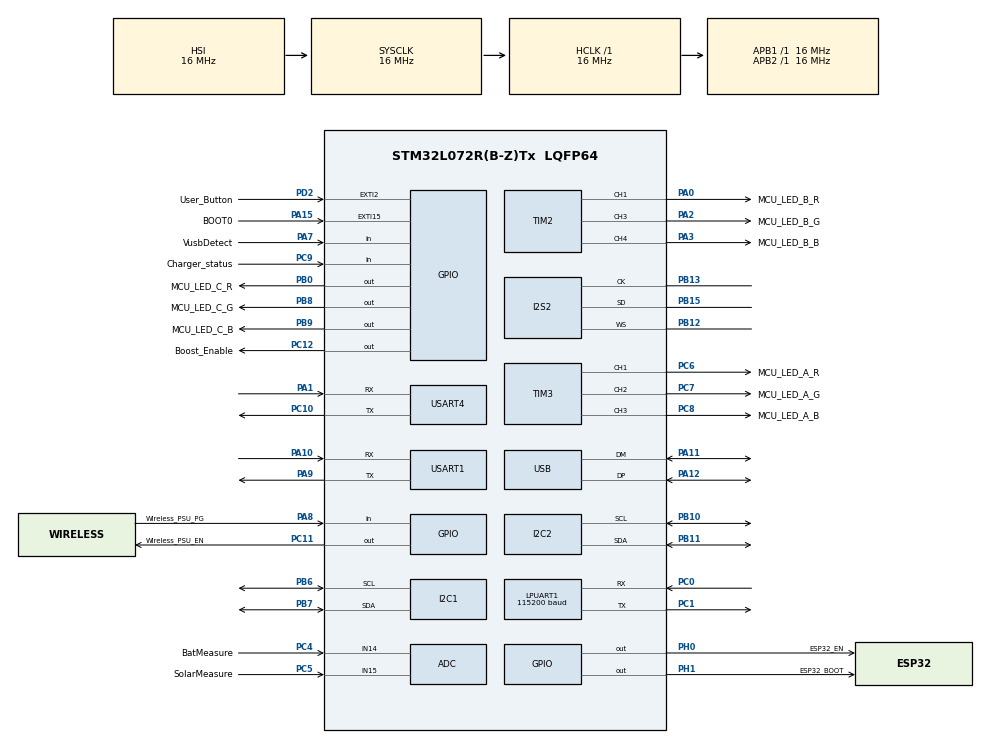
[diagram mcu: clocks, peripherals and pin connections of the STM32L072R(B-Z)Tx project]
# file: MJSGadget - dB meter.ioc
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ADC.DiscontinuousConvMode=DISABLE
ADC.SamplingTime=ADC_SAMPLETIME_160CYCLES_5
Dma.I2C1_RX.1.Direction=DMA_PERIPH_TO_MEMORY
Dma.I2C1_RX.1.Instance=DMA1_Channel3
Dma.I2C1_RX.1.MemDataAlignment=DMA_MDATAALIGN_BYTE
Dma.I2C1_RX.1.MemInc=DMA_MINC_ENABLE
Dma.I2C1_RX.1.Mode=DMA_NORMAL
Dma.I2C1_RX.1.PeriphDataAlignment=DMA_PDATAALIGN_BYTE
Dma.I2C1_RX.1.PeriphInc=DMA_PINC_DISABLE
Dma.I2C1_RX.1.Priority=DMA_PRIORITY_LOW
Dma.I2C1_TX.2.Direction=DMA_MEMORY_TO_PERIPH
Dma.I2C1_TX.2.Instance=DMA1_Channel2
Dma.I2C1_TX.2.MemDataAlignment=DMA_MDATAALIGN_BYTE
Dma.I2C1_TX.2.MemInc=DMA_MINC_ENABLE
Dma.I2C1_TX.2.Mode=DMA_NORMAL
Dma.I2C1_TX.2.PeriphDataAlignment=DMA_PDATAALIGN_BYTE
Dma.I2C1_TX.2.PeriphInc=DMA_PINC_DISABLE
Dma.I2C1_TX.2.Priority=DMA_PRIORITY_LOW
Dma.Request0=SPI2_RX
Dma.Request1=I2C1_RX
Dma.Request2=I2C1_TX
Dma.Request3=USART4_RX
Dma.Request4=USART4_TX
Dma.SPI2_RX.0.Direction=DMA_PERIPH_TO_MEMORY
Dma.SPI2_RX.0.Instance=DMA1_Channel4
Dma.SPI2_RX.0.MemDataAlignment=DMA_MDATAALIGN_HALFWORD
Dma.SPI2_RX.0.MemInc=DMA_MINC_ENABLE
Dma.SPI2_RX.0.Mode=DMA_CIRCULAR
Dma.SPI2_RX.0.PeriphDataAlignment=DMA_PDATAALIGN_HALFWORD
Dma.SPI2_RX.0.PeriphInc=DMA_PINC_DISABLE
Dma.SPI2_RX.0.Priority=DMA_PRIORITY_LOW
Dma.USART4_RX.3.Direction=DMA_PERIPH_TO_MEMORY
Dma.USART4_RX.3.Instance=DMA1_Channel6
Dma.USART4_RX.3.MemDataAlignment=DMA_MDATAALIGN_BYTE
Dma.USART4_RX.3.MemInc=DMA_MINC_ENABLE
Dma.USART4_RX.3.Mode=DMA_CIRCULAR
Dma.USART4_RX.3.PeriphDataAlignment=DMA_PDATAALIGN_BYTE
Dma.USART4_RX.3.PeriphInc=DMA_PINC_DISABLE
Dma.USART4_RX.3.Priority=DMA_PRIORITY_LOW
Dma.USART4_TX.4.Direction=DMA_MEMORY_TO_PERIPH
Dma.USART4_TX.4.Instance=DMA1_Channel7
Dma.USART4_TX.4.MemDataAlignment=DMA_MDATAALIGN_BYTE
Dma.USART4_TX.4.MemInc=DMA_MINC_ENABLE
Dma.USART4_TX.4.Mode=DMA_NORMAL
Dma.USART4_TX.4.PeriphDataAlignment=DMA_PDATAALIGN_BYTE
Dma.USART4_TX.4.PeriphInc=DMA_PINC_DISABLE
Dma.USART4_TX.4.Priority=DMA_PRIORITY_LOW
I2C1.Timing=0x00503D58
I2C2.Timing=0x00503D58
I2S2.AudioFreq=I2S_AUDIOFREQ_16K
I2S2.CPOL=I2S_CPOL_LOW
I2S2.DataFormat=I2S_DATAFORMAT_24B
I2S2.ErrorAudioFreq=-2.34 %
I2S2.Instance=SPI$Index
I2S2.Mode=I2S_MODE_MASTER_RX
I2S2.RealAudioFreq=15.625 KHz
I2S2.Standard=I2S_STANDARD_PHILIPS
I2S2.VirtualMode=I2S_MODE_MASTER
IWDG.Prescaler=IWDG_PRESCALER_256
LPUART1.BaudRate=115200
LPUART1.OverrunDisableParam=UART_ADVFEATURE_OVERRUN_DISABLE
LPUART1.SwapParam=UART_ADVFEATURE_SWAP_ENABLE
LPUART1.WordLength=UART_WORDLENGTH_8B
Mcu.Family=STM32L0
Mcu.Name=STM32L072R(B-Z)Tx
Mcu.Package=LQFP64
NVIC.DMA1_Channel2_3_IRQn=true\:0\:0\:false\:false\:true\:false\:true\:true
NVIC.DMA1_Channel4_5_6_7_IRQn=true\:3\:0\:true\:false\:true\:false\:true\:true
NVIC.EXTI2_3_IRQn=true\:0\:0\:false\:false\:true\:true\:true\:true
NVIC.EXTI4_15_IRQn=true\:0\:0\:false\:false\:true\:true\:true\:true
NVIC.I2C1_IRQn=true\:0\:0\:false\:false\:true\:true\:true\:true
NVIC.RTC_IRQn=true\:0\:0\:false\:false\:true\:true\:true\:true
NVIC.USART1_IRQn=true\:0\:0\:false\:false\:true\:true\:true\:true
NVIC.USART4_5_IRQn=true\:0\:0\:false\:false\:true\:true\:true\:true
NVIC.USB_IRQn=true\:0\:0\:false\:false\:true\:false\:true\:true
PA0.GPIO_Label=MCU_LED_B_R
PA0.Signal=S_TIM2_CH1
PA1.Mode=Asynchronous
PA1.Signal=USART4_RX
PA10.Mode=Asynchronous
PA10.Signal=USART1_RX
PA11.Mode=Device
PA11.Signal=USB_DM
PA12.Mode=Device
PA12.Signal=USB_DP
PA13.Mode=Serial_Wire
PA13.Signal=SYS_SWDIO
PA14.Mode=Serial_Wire
PA14.Signal=SYS_SWCLK
PA15.GPIO_Label=BOOT0
PA15.Signal=GPXTI15
PA2.GPIO_Label=MCU_LED_B_G
PA2.Signal=S_TIM2_CH3
PA3.GPIO_Label=MCU_LED_B_B
PA3.Signal=S_TIM2_CH4
PA7.GPIO_Label=VusbDetect
PA7.Signal=GPIO_Input
PA8.GPIO_Label=Wireless_PSU_PG
PA8.Signal=GPIO_Input
PA9.Mode=Asynchronous
PA9.Signal=USART1_TX
PB0.GPIO_Label=MCU_LED_C_R
PB0.PinState=GPIO_PIN_SET
PB0.Signal=GPIO_Output
PB10.Mode=I2C
PB10.Signal=I2C2_SCL
PB11.Mode=I2C
PB11.Signal=I2C2_SDA
PB12.Mode=Half_Duplex_Master
PB12.Signal=I2S2_WS
PB13.Mode=Half_Duplex_Master
PB13.Signal=I2S2_CK
PB15.Mode=Half_Duplex_Master
PB15.Signal=I2S2_SD
PB6.Mode=I2C
PB6.Signal=I2C1_SCL
PB7.Mode=I2C
PB7.Signal=I2C1_SDA
PB8.GPIO_Label=MCU_LED_C_G
PB8.PinState=GPIO_PIN_SET
PB8.Signal=GPIO_Output
PB9.GPIO_Label=MCU_LED_C_B
PB9.PinState=GPIO_PIN_SET
PB9.Signal=GPIO_Output
PC0.Mode=Asynchronous
PC0.Signal=LPUART1_RX
PC1.Mode=Asynchronous
PC1.Signal=LPUART1_TX
PC10.Mode=Asynchronous
PC10.Signal=USART4_TX
PC11.GPIO_Label=Wireless_PSU_EN
PC11.PinState=GPIO_PIN_SET
PC11.Signal=GPIO_Output
PC12.GPIO_Label=Boost_Enable
PC12.Signal=GPIO_Output
PC14-OSC32_IN.Mode=LSE-External-Oscillator
PC14-OSC32_IN.Signal=RCC_OSC32_IN
PC15-OSC32_OUT.Mode=LSE-External-Oscillator
PC15-OSC32_OUT.Signal=RCC_OSC32_OUT
PC4.GPIO_Label=BatMeasure
PC4.Signal=SharedAnalog_PC4
PC5.GPIO_Label=SolarMeasure
PC5.Signal=SharedAnalog_PC5
PC6.GPIO_Label=MCU_LED_A_R
PC6.Signal=S_TIM3_CH1
PC7.GPIO_Label=MCU_LED_A_G
PC7.Signal=S_TIM3_CH2
PC8.GPIO_Label=MCU_LED_A_B
PC8.Signal=S_TIM3_CH3
PC9.GPIO_Label=Charger_status
PC9.Signal=GPIO_Input
PD2.GPIO_Label=User_Button
PD2.GPIO_ModeDefaultEXTI=GPIO_MODE_IT_FALLING
PD2.GPIO_PuPd=GPIO_PULLUP
PD2.Signal=GPXTI2
PH0-OSC_IN.GPIO_Label=ESP32_EN
PH0-OSC_IN.PinState=GPIO_PIN_SET
PH0-OSC_IN.Signal=GPIO_Output
PH1-OSC_OUT.GPIO_Label=ESP32_BOOT
PH1-OSC_OUT.Signal=GPIO_Output
ProjectManager.HeapSize=0x100
ProjectManager.StackSize=0x400
ProjectManager.TargetToolchain=CMake
RCC.ADCFreq_Value=16000000
RCC.AHBFreq_Value=16000000
RCC.APB1Freq_Value=16000000
RCC.APB1TimFreq_Value=16000000
RCC.APB2Freq_Value=16000000
RCC.APB2TimFreq_Value=16000000
RCC.HCLKFreq_Value=16000000
RCC.HSE_VALUE=8000000
RCC.HSI16_VALUE=16000000
RCC.HSI48MClockSelection=RCC_USBCLKSOURCE_HSI48
RCC.HSI48_VALUE=48000000
RCC.HSI_VALUE=16000000
RCC.LSE_Drive_Capability=RCC_LSEDRIVE_MEDIUMHIGH
RCC.MSI_VALUE=2097000
RCC.RTCClockSelection=RCC_RTCCLKSOURCE_LSE
RCC.RTCClockSelectionVirtual=RCC_RTCCLKSOURCE_LSE
RCC.SYSCLKFreq_VALUE=16000000
RCC.SYSCLKSource=RCC_SYSCLKSOURCE_HSI
RCC.VCOOutputFreq_Value=48000000
RTC.Date=23
RTC.Format=RTC_FORMAT_BIN
RTC.Hours=13
RTC.Month=RTC_MONTH_NOVEMBER
RTC.WeekDay=RTC_WEEKDAY_SATURDAY
RTC.Year=24
SH.S_TIM2_CH1.0=TIM2_CH1,PWM Generation1 CH1
SH.S_TIM2_CH3.0=TIM2_CH3,PWM Generation3 CH3
SH.S_TIM2_CH4.0=TIM2_CH4,PWM Generation4 CH4
SH.S_TIM3_CH1.0=TIM3_CH1,PWM Generation1 CH1
SH.S_TIM3_CH2.0=TIM3_CH2,PWM Generation2 CH2
SH.S_TIM3_CH3.0=TIM3_CH3,PWM Generation3 CH3
SH.SharedAnalog_PC4.0=GPIO_Analog
SH.SharedAnalog_PC4.1=ADC_IN14,IN14
SH.SharedAnalog_PC5.0=GPIO_Analog
SH.SharedAnalog_PC5.1=ADC_IN15,IN15
TIM2.Channel-PWM\ Generation1\ CH1=TIM_CHANNEL_1
TIM2.Channel-PWM\ Generation3\ CH3=TIM_CHANNEL_3
TIM2.Channel-PWM\ Generation4\ CH4=TIM_CHANNEL_4
TIM3.Channel-PWM\ Generation1\ CH1=TIM_CHANNEL_1
TIM3.Channel-PWM\ Generation2\ CH2=TIM_CHANNEL_2
TIM3.Channel-PWM\ Generation3\ CH3=TIM_CHANNEL_3
TIM6.Prescaler=10
USART1.SwapParam=ADVFEATURE_SWAP_DISABLE
USART1.VirtualMode-Asynchronous=VM_ASYNC
USART4.SwapParam=ADVFEATURE_SWAP_DISABLE
USART4.VirtualMode-Asynchronous=VM_ASYNC
USB_DEVICE.CLASS_NAME_FS=CDC
USB_DEVICE.VirtualMode=Cdc
USB_DEVICE.VirtualModeFS=Cdc_FS
VP_IWDG_VS_IWDG.Mode=IWDG_Activate
VP_RTC_VS_RTC_Activate.Mode=RTC_Enabled
VP_RTC_VS_RTC_Calendar.Mode=RTC_Calendar
VP_RTC_VS_RTC_WakeUp_intern.Mode=WakeUp
VP_TIM6_VS_ClockSourceINT.Mode=Enable_Timer
VP_USB_DEVICE_VS_USB_DEVICE_CDC_FS.Mode=CDC_FS
board=custom

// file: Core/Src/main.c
/* USER CODE BEGIN Header */
/**
 ******************************************************************************
 * @file           : main.c
 * @brief          : Main program body
 ******************************************************************************
 * @attention
 *
 * Copyright (c) 2024 STMicroelectronics.
 * All rights reserved.
 *
 * This software is licensed under terms that can be found in the LICENSE file
 * in the root directory of this software component.
 * If no LICENSE file comes with this software, it is provided AS-IS.
 *
 ******************************************************************************
 */
/* USER CODE END Header */
#include "main.h"
#include "adc.h"
#include "dma.h"
#include "i2c.h"
#include "i2s.h"
#include "iwdg.h"
#include "usart.h"
#include "rtc.h"
#include "tim.h"
#include "usb_device.h"
#include "gpio.h"

/* USER CODE BEGIN Includes */
#include "microphone.h"
#include "I2CSensors.h"
#include "utils.h"
#include "measurement.h"
#include "globals.h"
#include "ESP.h"
#include "PowerUtils.h"
#include "usbd_cdc_if.h"
#include "statusCheck.h"
#include "RealTimeClock.h"
#include "sound_measurement.h"
#include "print_functions.h"
#include "sen5x.h"
// #include "sgp40.h"
// #include "wsenHIDS.h"

//Includes Teun
#include "setLED.h"
#include "sgp40.h"
#include "wsenHIDS.h"

/* USER CODE END Includes */

/* USER CODE BEGIN PTD */
typedef enum {
    GADGET_BATTERY_CHECK,
    GADGET_START_MEASUREMENTS,
    GADGET_CHECK_MEASUREMENTS_DONE,
    GADGET_SEND_MEASUREMENTS,
    GADGET_GO_TO_SLEEP,
    GADGET_REINIT_UART,
}gadgetState;

/* USER CODE END PTD */

/* USER CODE BEGIN PD */
#define SEND_WAIT_TIME_SHORT 300
#define SEND_WAIT_TIME_LONG 600
#define SLEEP_TIME 10
#define LED_ON_SLP_TIME 1000
#define SAFE_DELAY_TIME 20

#define RESUME_ESP_INTERVAL 5*60*1000
/* USER CODE END PD */

/* USER CODE BEGIN PV */
bool testDone = false;
bool ESP_Programming = false;
bool batteryEmpty = false;
static bool priorUSBpluggedIn = false;
// uint8_t SGPstate;
// uint8_t HIDSstate;
// uint8_t MICstate;
uint8_t ESPstate;
bool waitforSamples = false;
uint8_t hidscount = 0;
uint8_t u1_rx_buff[16];                       // rxbuffer for serial logger
uint8_t RxData[UART_CDC_DMABUFFERSIZE] = {0}; // rx buffer for USB
uint16_t IndexRxData = 0;
uint32_t LastRxTime = 0;
uint32_t batteryReadTimer = 0;
uint32_t timeReadTimer = 0;
uint32_t ESPSleepTime = 0;
uint16_t size = 0;

Battery_Status charge;
extern DMA_HandleTypeDef hdma_spi2_rx;

ESPHandler espHandle = {
    .done = false,
    .ready = false,
    .resume = false,
    .startSend = false,
    .connectionMade = false,
    .mode = ESP_PROGRAM_INIT
};

//
/* USER CODE END PV */

void SystemClock_Config(void);
/* USER CODE BEGIN PFP */

void petDog(){
  if (HAL_IWDG_Refresh(&hiwdg) != HAL_OK)
    {
      Error_Handler();
    }
}

void ESP_Programming_Read_Remaining_DMA()
{
    // ESP programmer section

    if (LastRxTime != 0 && ESP_Programming)
    {
        if ((LastRxTime + 100) < HAL_GetTick()) // 120
        {
            HAL_UART_DMAPause(&hlpuart1);
            size = __HAL_DMA_GET_COUNTER(hlpuart1.hdmarx);
            if (size > (UART_CDC_DMABUFFERSIZE / 2))
            {
                size = UART_CDC_DMABUFFERSIZE - size;
            }
            else
            {
                size = (UART_CDC_DMABUFFERSIZE / 2) - size;
            }
            if (size > 0)
            {
                CDC_Transmit_FS(&RxData[IndexRxData], size);
                LastRxTime = 0;
                IndexRxData += size;
            }
            HAL_UART_DMAResume(&hlpuart1);
        }
    }
}

/* USER CODE END PFP */

int main(void)
{

  /* MCU Configuration--------------------------------------------------------*/

  /* Reset of all peripherals, Initializes the Flash interface and the Systick. */
  HAL_Init();

  /* Configure the system clock */
  SystemClock_Config();

  /* Initialize all configured peripherals */
  MX_GPIO_Init();
  MX_DMA_Init();
  MX_I2C1_Init();
  MX_I2S2_Init();
  MX_USART1_UART_Init();
  MX_I2C2_Init();
  MX_TIM2_Init();
  MX_TIM3_Init();
  MX_USART4_UART_Init();
  MX_ADC_Init();
  MX_USB_DEVICE_Init();
  MX_RTC_Init();
  MX_LPUART1_UART_Init();
  MX_TIM6_Init();
  MX_IWDG_Init();
  /* USER CODE BEGIN 2 */
    // General TODO 's
    /*
     * : Put SSID in EEPROM
     * : Turn on heater if humidity is too high
     * : LEDs indicator for air quality
     * : Default network: Sensor community
     * : Different modes for outside and inside (check solar or check LED on/off mode?)
     * : Add CLI via usb-c
     * : Network not found? Sleep
     */
    GPIO_InitPWMLEDs(&htim2, &htim3);
    if (UserButton_Pressed())
    {
        EnableESPProg();
        ESP_Programming = true;
    }
    SetVerboseLevel(VERBOSE_ALL);
    BinaryReleaseInfo();
    HAL_UART_Receive_IT(&huart1, u1_rx_buff, 1);
    InitClock(&hrtc);

    if (!soundInit(&hdma_spi2_rx, &hi2s2, &htim6, DMA1_Channel4_5_6_7_IRQn))
    {
        errorHandler(__func__, __LINE__, __FILE__);
    }
    Device_Init(&hi2c1, &hi2s2, &hadc);
    priorUSBpluggedIn = !Check_USB_PowerOn(); // force the status of the SGP40
    ESPSleepTime = HAL_GetTick() + RESUME_ESP_INTERVAL;
    initESPHandler(&espHandle);
    initUart(&huart4);

  /* USER CODE END 2 */

  /* Infinite loop */
  /* USER CODE BEGIN WHILE */
    while (1)
    {
        static Battery_Status batteryCheck;
        static gadgetState state = GADGET_BATTERY_CHECK;
        static uint16_t sleepTime = SLEEP_TIME;
        processButtonPressed();
        petDog();
        switch(state){
            case GADGET_BATTERY_CHECK:
                batteryCheck = Battery_Upkeep();
                if(batteryCheck == BATTERY_GOOD || batteryCheck == USB_PLUGGED_IN){
                    state = GADGET_START_MEASUREMENTS;
                    sleepTime = SEND_WAIT_TIME_SHORT;
                }

                if(batteryCheck == BATTERY_LOW){
                  state = GADGET_START_MEASUREMENTS;
                  sleepTime = SEND_WAIT_TIME_LONG;
                }

                if(batteryCheck == BATTERY_CRITICAL){
                    state = GADGET_GO_TO_SLEEP;
                    sleepTime = SEND_WAIT_TIME_LONG;
                }
            break;

            case GADGET_START_MEASUREMENTS:
                measurementReset();
                measurementUpkeep();
                state = GADGET_CHECK_MEASUREMENTS_DONE;
            break;

            case GADGET_CHECK_MEASUREMENTS_DONE:
                bool measurementDone = measurementUpkeep();
                if(measurementDone){
                    state = GADGET_SEND_MEASUREMENTS;
                    espHandle.startSend = true;
                    espHandle.timeOutStamp = 60000 + HAL_GetTick();
                }
            break;

            case GADGET_SEND_MEASUREMENTS:
                ESP_Upkeep();
                HAL_GPIO_WritePin(MCU_LED_C_B_GPIO_Port, MCU_LED_C_B_Pin, false);
                if(espHandle.done){
                  state = GADGET_GO_TO_SLEEP;
                  //espHandle.mode = ESP_PROGRAM_INIT;
                  espHandle.startSend = false;
                }
                if(TimestampIsReached(espHandle.timeOutStamp)){
                  HAL_GPIO_WritePin(MCU_LED_C_B_GPIO_Port, MCU_LED_C_B_Pin, true);
                  HAL_GPIO_WritePin(MCU_LED_C_R_GPIO_Port, MCU_LED_C_R_Pin, false);
                  HAL_Delay(1000);
                  HAL_GPIO_WritePin(MCU_LED_C_R_GPIO_Port, MCU_LED_C_R_Pin, true);
                  espHandle.state = ESP_STATE_INIT;
                  //espHandle.mode = ESP_PROGRAM_INIT;
                  espHandle.startSend = false;
                  state = GADGET_GO_TO_SLEEP;
              }

            break;

            case GADGET_GO_TO_SLEEP:
                DisableESP();
                HAL_UART_DeInit(&huart4);
                Debug("UART DeInited");
                espHandle.done = false;
                LEDSOff();
                watchdogStopMode(sleepTime);
                //VOCReset();
                state = GADGET_REINIT_UART;
            break;

            case GADGET_REINIT_UART:
              MX_USART4_UART_Init();
              initUart(&huart4);
              measurementReset();
              Debug("Uart reInited");
              state = GADGET_BATTERY_CHECK;
            break;
        }

        //Check watchdog

        // ESPstate = ESP_Upkeep();
		// UpdateLEDs();

        // if (ESPstate == ESP_STATE_WAIT_RESET)
        // {
        //     if (CurrentState.led_off)
        //     {
        //         switch (CurrentState.mode)
        //         {
        //             case (Mode_t)USB_POWERED_MODE:
        //                 EnterStop(&hrtc, 5*60);
        //                 setResumeESP(true);
        //                 break;

        //             case (Mode_t)BATTERY_POWERED_MODE:
        //                 EnterStop(&hrtc, 15*60);
        //                 setResumeESP(true);
        //                 break;
        //         }
        //     }
        //     else
        //     {
        //         if (TimestampIsReached(ESPSleepTime))
        //         {
        //             setResumeESP(true);
        //             ESPSleepTime = HAL_GetTick() + RESUME_ESP_INTERVAL;
        //         }
        //     }
        // }

    /* USER CODE END WHILE */

    }
}

void SystemClock_Config(void)
{
  RCC_OscInitTypeDef RCC_OscInitStruct = {0};
  RCC_ClkInitTypeDef RCC_ClkInitStruct = {0};
  RCC_PeriphCLKInitTypeDef PeriphClkInit = {0};

  /** Configure the main internal regulator output voltage
  */
  __HAL_PWR_VOLTAGESCALING_CONFIG(PWR_REGULATOR_VOLTAGE_SCALE1);

  /** Configure LSE Drive Capability
  */
  HAL_PWR_EnableBkUpAccess();
  __HAL_RCC_LSEDRIVE_CONFIG(RCC_LSEDRIVE_MEDIUMHIGH);

  /** Initializes the RCC Oscillators according to the specified parameters
  * in the RCC_OscInitTypeDef structure.
  */
  RCC_OscInitStruct.OscillatorType = RCC_OSCILLATORTYPE_HSI|RCC_OSCILLATORTYPE_LSI
                              |RCC_OSCILLATORTYPE_LSE|RCC_OSCILLATORTYPE_HSI48;
  RCC_OscInitStruct.LSEState = RCC_LSE_ON;
  RCC_OscInitStruct.HSIState = RCC_HSI_ON;
  RCC_OscInitStruct.HSICalibrationValue = RCC_HSICALIBRATION_DEFAULT;
  RCC_OscInitStruct.LSIState = RCC_LSI_ON;
  RCC_OscInitStruct.HSI48State = RCC_HSI48_ON;
  RCC_OscInitStruct.PLL.PLLState = RCC_PLL_NONE;
  if (HAL_RCC_OscConfig(&RCC_OscInitStruct) != HAL_OK)
  {
    Error_Handler();
  }

  /** Initializes the CPU, AHB and APB buses clocks
  */
  RCC_ClkInitStruct.ClockType = RCC_CLOCKTYPE_HCLK|RCC_CLOCKTYPE_SYSCLK
                              |RCC_CLOCKTYPE_PCLK1|RCC_CLOCKTYPE_PCLK2;
  RCC_ClkInitStruct.SYSCLKSource = RCC_SYSCLKSOURCE_HSI;
  RCC_ClkInitStruct.AHBCLKDivider = RCC_SYSCLK_DIV1;
  RCC_ClkInitStruct.APB1CLKDivider = RCC_HCLK_DIV1;
  RCC_ClkInitStruct.APB2CLKDivider = RCC_HCLK_DIV1;

  if (HAL_RCC_ClockConfig(&RCC_ClkInitStruct, FLASH_LATENCY_0) != HAL_OK)
  {
    Error_Handler();
  }
  PeriphClkInit.PeriphClockSelection = RCC_PERIPHCLK_USART1|RCC_PERIPHCLK_LPUART1
                              |RCC_PERIPHCLK_I2C1|RCC_PERIPHCLK_RTC
                              |RCC_PERIPHCLK_USB;
  PeriphClkInit.Usart1ClockSelection = RCC_USART1CLKSOURCE_PCLK2;
  PeriphClkInit.Lpuart1ClockSelection = RCC_LPUART1CLKSOURCE_PCLK1;
  PeriphClkInit.I2c1ClockSelection = RCC_I2C1CLKSOURCE_PCLK1;
  PeriphClkInit.RTCClockSelection = RCC_RTCCLKSOURCE_LSE;
  PeriphClkInit.UsbClockSelection = RCC_USBCLKSOURCE_HSI48;
  if (HAL_RCCEx_PeriphCLKConfig(&PeriphClkInit) != HAL_OK)
  {
    Error_Handler();
  }
}

/* USER CODE BEGIN 4 */
// Provide a print interface for print_functions.
void printString(const char *str, uint16_t length)
{
    HAL_UART_Transmit(&huart1, (uint8_t *)str, length, 0xFFFF);
}

/* USER CODE END 4 */

void Error_Handler(void)
{
  /* USER CODE BEGIN Error_Handler_Debug */
    /* User can add his own implementation to report the HAL error return state */
    __disable_irq();
    while (1)
    {
        NVIC_SystemReset();
    }
  /* USER CODE END Error_Handler_Debug */
}
